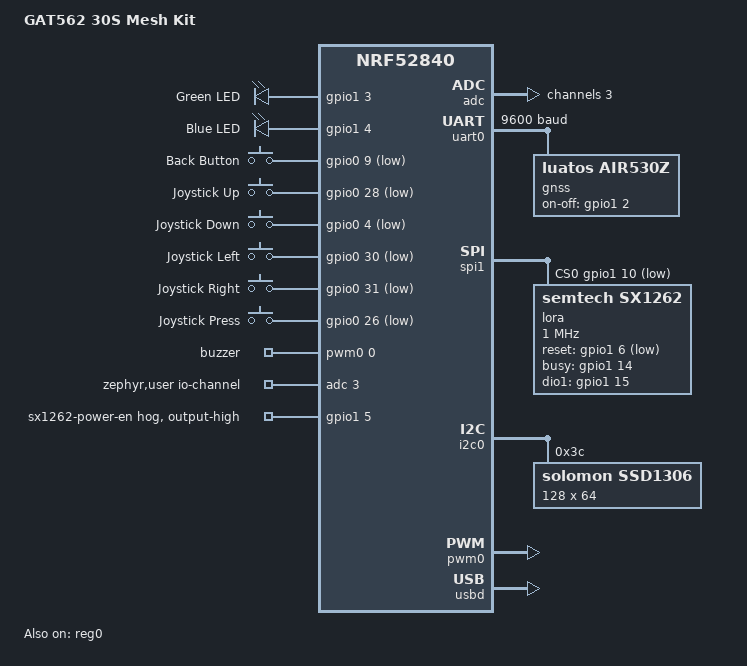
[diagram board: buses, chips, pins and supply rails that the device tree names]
/*
 * SPDX-License-Identifier: MIT
 *
 * GAT562 30S Mesh Kit — nRF52840 + SX1262 on a RAK4631 core module, with a
 * 30 dBm (1 W) external PA, SSD1306 OLED, GPS, buzzer, 2x18650 + solar input.
 *
 * LoRa wiring is identical to the RAK4631 WisBlock core:
 *   SCK P1.11  MOSI P1.12  MISO P1.13  NSS P1.10
 *   RST P1.06  BUSY P1.14  DIO1 P1.15  PWR_EN P1.05 (hog HIGH)
 *   DIO2 = T/R switch, DIO3 = TCXO.
 *
 * GAT562-specific vs a stock RAK4631:
 *   - DIO3 TCXO at 1.8 V   (matches the official MeshCore GAT562 variant)
 *   - Battery multiplier 6232 (vs 6161): 3 * 1.75 * 1.187 * 1000
 *   - Buzzer on P1.01 (PWM0)
 *   - GPS: AT6558R on UART0 @ 9600 (MCU RX P0.15 / TX P0.16), luatos,air530z
 *     driver, power via on-off-gpios on WB_IO2/P1.02
 *   - 6 buttons on GPIO SENSE (sense-edge-mask) so DIO1 keeps a GPIOTE chan
 *   - LEDs active-high: green P1.03 (LoRa TX), blue P1.04
 *   - User button P0.09 (NFC1)
 */

/dts-v1/;
#include <nordic/nrf52840_qiaa.dtsi>
#include "gat562_30s-pinctrl.dtsi"
#include <zephyr/dt-bindings/adc/nrf-saadc.h>
#include <zephyr/dt-bindings/lora/sx126x.h>
#include <zephyr/dt-bindings/input/input-event-codes.h>
#include <zephyr/dt-bindings/pwm/pwm.h>

/ {
	model = "GAT562 30S Mesh Kit";
	compatible = "gat,gat562-30s";

	chosen {
		zephyr,sram = &sram0;
		zephyr,flash = &flash0;
		zephyr,code-partition = &code_partition;
		zephyr,console = &cdc_acm_uart;
		zephyr,shell-uart = &cdc_acm_uart;
		zephyr,display = &ssd1306;
	};

	aliases {
		lora0 = &lora;
		led0 = &green_led;
		led1 = &blue_led;
		lora-tx-led = &green_led;
		sw0 = &user_button;
		buzzer = &buzzer;
		watchdog0 = &wdt0;
	};

	leds {
		compatible = "gpio-leds";
		/* Active-high on GAT562 (LED_STATE_ON = 1; TX LED driven HIGH) */
		green_led: led_1 {
			gpios = <&gpio1 3 GPIO_ACTIVE_HIGH>;
			label = "Green LED";
		};
		blue_led: led_2 {
			gpios = <&gpio1 4 GPIO_ACTIVE_HIGH>;
			label = "Blue LED";
		};
	};

	/*
	 * Inputs: back/menu button (P0.09) + 5-way joystick (P0.28/04/30/31/26).
	 * The joystick drives the companion menu UI (ZEPHCORE_UI_JOYSTICK). The
	 * back button is a single GPIO whose tap-count/hold is decoded by the
	 * filters below — same scheme as the Wio Tracker L1:
	 *   1 tap  -> KEY_1 (back/cancel)   long hold -> KEY_POWER
	 *   2 taps -> KEY_B (LED)        3 -> KEY_D (buzzer)
	 *   4 taps -> KEY_C (GPS)           5 -> KEY_E (advert)
	 * (NFC pins P0.09/P0.10 are freed for GPIO by nfct-pins-as-gpios above.)
	 */
	buttons: buttons {
		compatible = "gpio-keys";

		user_button: button_0 {
			gpios = <&gpio0 9 (GPIO_PULL_UP | GPIO_ACTIVE_LOW)>;
			zephyr,code = <INPUT_KEY_0>;
			label = "Back Button";
		};

		joystick_up: button_1 {
			gpios = <&gpio0 28 (GPIO_PULL_UP | GPIO_ACTIVE_LOW)>;
			zephyr,code = <INPUT_KEY_UP>;
			label = "Joystick Up";
		};

		joystick_down: button_2 {
			gpios = <&gpio0 4 (GPIO_PULL_UP | GPIO_ACTIVE_LOW)>;
			zephyr,code = <INPUT_KEY_DOWN>;
			label = "Joystick Down";
		};

		joystick_left: button_3 {
			gpios = <&gpio0 30 (GPIO_PULL_UP | GPIO_ACTIVE_LOW)>;
			zephyr,code = <INPUT_KEY_LEFT>;
			label = "Joystick Left";
		};

		joystick_right: button_4 {
			gpios = <&gpio0 31 (GPIO_PULL_UP | GPIO_ACTIVE_LOW)>;
			zephyr,code = <INPUT_KEY_RIGHT>;
			label = "Joystick Right";
		};

		joystick_press: button_5 {
			gpios = <&gpio0 26 (GPIO_PULL_UP | GPIO_ACTIVE_LOW)>;
			zephyr,code = <INPUT_KEY_ENTER>;
			label = "Joystick Press";
		};
	};

	/* Back button: short tap -> KEY_A (feeds multitap), hold >=1s -> KEY_POWER */
	user_btn_longpress {
		compatible = "zephyr,input-longpress";
		input = <&buttons>;
		input-codes = <INPUT_KEY_0>;
		short-codes = <INPUT_KEY_A>;
		long-codes = <INPUT_KEY_POWER>;
		long-delay-ms = <1000>;
	};

	/* Tap-count decode of the back button. No 'input' phandle: KEY_A is
	 * emitted by the longpress pseudo-device, not by &buttons. */
	user_btn_multitap {
		compatible = "zephcore,input-multi-tap";
		input-codes = <INPUT_KEY_A>;
		tap-codes = <INPUT_KEY_1 INPUT_KEY_B INPUT_KEY_D INPUT_KEY_C INPUT_KEY_E>;
		tap-delay-ms = <400>;
	};

	/* Onboard buzzer on P1.01 (PWM0). The official MeshCore variant defines
	 * PIN_BUZZER=33 (P1.01); its PIN_GPS_EN=33 is vestigial template cruft —
	 * the UART GPS is always-on and needs no enable, so P1.01 is the buzzer. */
	pwmbuzzer {
		compatible = "pwm-leds";
		buzzer: buzzer {
			pwms = <&pwm0 0 PWM_MSEC(20) PWM_POLARITY_NORMAL>;
		};
	};

	/* Battery sense: AIN3 = P0.05 with the GAT562 divider (~1.73x) */
	zephyr,user {
		io-channels = <&adc 3>;
		vbat-mv-multiplier = <6259>;	/* 1.73:1 divider, 3.6V ref; corrected from Arduino 3.0V AREF + nRF SAADC gain */
	};
};

&reg0 {
	status = "okay";
};

&reg1 {
	regulator-initial-mode = <NRF5X_REG_MODE_DCDC>;
};

&uicr {
	gpio-as-nreset;
	nfct-pins-as-gpios;	/* free P0.09 / P0.10 for the user button */
};

&gpiote {
	status = "okay";
};

&gpio0 {
	status = "okay";

	/*
	 * Route the 6 button/joystick edge interrupts (P0.04/09/26/28/30/31)
	 * through the shared GPIO SENSE/PORT event instead of dedicating a
	 * GPIOTE IN channel to each. The nRF52840 has only 8 GPIOTE channels;
	 * with 6 buttons each taking one (gpio-keys uses GPIO_INT_EDGE_BOTH),
	 * the SX1262 DIO1 interrupt could be starved of a channel, so CAD/TX/RX
	 * "done" IRQs never fire and every RF op times out (CAD failed -116).
	 * Moving the slow button inputs to sense frees all 6 channels for DIO1.
	 * Mask = (1<<4)|(1<<9)|(1<<26)|(1<<28)|(1<<30)|(1<<31).
	 */
	sense-edge-mask = <0xD4000210>;
};

&gpio1 {
	status = "okay";

	/* SX1262 module power-enable on P1.05: held HIGH. The native sx126x
	 * driver must not toggle this per-direction (it is module power, not a
	 * per-TX/RX antenna switch), so it is hogged instead of being a
	 * rx-enable-gpios on the lora node. */
	sx1262_power_en {
		gpio-hog;
		gpios = <5 GPIO_ACTIVE_HIGH>;
		output-high;
		line-name = "sx1262-power-en";
	};

	/* GPS power-enable on WB_IO2 / P1.02 is NOT hogged here: the AT6558R is
	 * driven by the luatos,air530z driver, which owns this line via
	 * on-off-gpios (see &uart0) so ZephyrGPSManager can power the receiver
	 * down for low-power operation. */
};

&adc {
	status = "okay";
	#address-cells = <1>;
	#size-cells = <0>;

	channel@3 {
		reg = <3>;
		zephyr,gain = "ADC_GAIN_1_6";
		zephyr,reference = "ADC_REF_INTERNAL";
		zephyr,acquisition-time = <ADC_ACQ_TIME(ADC_ACQ_TIME_MICROSECONDS, 10)>;
		zephyr,input-positive = <NRF_SAADC_AIN3>;	/* P0.05 */
		zephyr,resolution = <12>;
	};
};

/*
 * GPS: AT6558R UART NMEA receiver on UART0 @ 9600 baud (MCU RX P0.15 <- GPS
 * TX, MCU TX P0.16 -> GPS RX). Multi-constellation (GPS + GLONASS). Matches
 * the official MeshCore gat562_30s_mesh_kit variant (MicroNMEALocationProvider
 * on Serial1, 9600 baud).
 *
 * Driven by the luatos,air530z driver — the AT6558R is a CASIC-protocol part,
 * so the driver's $PCAS03 init trims the NMEA stream to GGA+RMC (+GSV when
 * CONFIG_GNSS_SATELLITES) and $PMTK869 enables EASY fast-TTFF. Same driver and
 * chip as the rak_wismesh_tag board. GPS power is managed by the driver via
 * on-off-gpios (WB_IO2 / P1.02, active-high), so ZephyrGPSManager can power
 * the receiver down — no always-on gpio-hog. Because the driver brings the
 * module up only after the UART backend is ready, the plain interrupt-driven
 * RX feeds the modem backend correctly and no CONFIG_UART_ASYNC_API is needed.
 */
&uart0 {
	compatible = "nordic,nrf-uarte";
	status = "okay";
	current-speed = <9600>;
	pinctrl-0 = <&uart0_default>;
	pinctrl-1 = <&uart0_sleep>;
	pinctrl-names = "default", "sleep";

	gnss: gnss {
		compatible = "luatos,air530z";
		on-off-gpios = <&gpio1 2 GPIO_ACTIVE_HIGH>;	/* WB_IO2 / P1.02 GPS power */
	};
};

/* UART1 unused — the GPS is on UART0 (see above). */
&uart1 {
	status = "disabled";
};

/* LoRa SX1262 on SPI1 — RAK4631 core-module wiring */
&spi1 {
	compatible = "nordic,nrf-spi";
	status = "okay";
	cs-gpios = <&gpio1 10 GPIO_ACTIVE_LOW>;		/* NSS P1.10 */
	pinctrl-0 = <&spi1_default>;
	pinctrl-1 = <&spi1_sleep>;
	pinctrl-names = "default", "sleep";

	lora: lora@0 {
		compatible = "semtech,sx1262";
		reg = <0>;
		spi-max-frequency = <1000000>;
		reset-gpios = <&gpio1 6 GPIO_ACTIVE_LOW>;		/* RST  P1.06 */
		busy-gpios = <&gpio1 14 GPIO_ACTIVE_HIGH>;		/* BUSY P1.14 */
		dio1-gpios = <&gpio1 15 (GPIO_PULL_DOWN | GPIO_ACTIVE_HIGH)>;	/* DIO1 P1.15 */
		dio2-tx-enable;						/* DIO2 = T/R switch */
		/* 1.8 V TCXO via DIO3 — matches the official MeshCore GAT562 variant
		 * (SX126X_DIO3_TCXO_VOLTAGE 1.8). The TCXO on the RAK4631 core runs
		 * fine at 1.8 V; 3.3 V also works on this unit, but 1.8 V mirrors the
		 * vendor's known-good value. The module is a TCXO part: without DIO3
		 * control it has no clock and sits in permanent BUSY.  NOTE: the SX1262
		 * signals CAD/TX/RX "done" on DIO1, which needs a free nRF GPIOTE
		 * channel.  This board's 6 buttons are routed to GPIO SENSE (see
		 * sense-edge-mask on &gpio0) so they don't consume all 8 channels and
		 * starve DIO1 — without that, every RF op times out ("CAD failed -116"). */
		dio3-tcxo-voltage = <SX126X_DIO3_TCXO_1V8>;
		tcxo-power-startup-delay-ms = <5>;
		rx-boosted;
	};
};

/* I2C0: SSD1306 OLED @ 0x3C + auto-detected sensors (BME280 pad, etc.) */
&i2c0 {
	compatible = "nordic,nrf-twi";
	status = "okay";
	pinctrl-0 = <&i2c0_default>;
	pinctrl-1 = <&i2c0_sleep>;
	pinctrl-names = "default", "sleep";

	ssd1306: ssd1306@3c {
		compatible = "solomon,ssd1306";
		reg = <0x3c>;
		width = <128>;
		height = <64>;
		segment-offset = <0>;
		page-offset = <0>;
		display-offset = <0>;
		multiplex-ratio = <63>;
		segment-remap;
		com-invdir;
		prechargep = <0x22>;
	};

	#include "../../common/sensors-i2c.dtsi"
};

/* PWM0 drives the buzzer on P1.01 */
&pwm0 {
	status = "okay";
	pinctrl-0 = <&pwm0_default>;
	pinctrl-1 = <&pwm0_sleep>;
	pinctrl-names = "default", "sleep";
};

/*
 * No external QSPI flash on the GAT562 core module. The SoC leaves &qspi
 * disabled by default; pin it explicitly so a probe of an absent chip can
 * never hang boot.
 */
&qspi {
	status = "disabled";
};

/* USB CDC-ACM: console + repeater CLI */
zephyr_udc0: &usbd {
	compatible = "nordic,nrf-usbd";
	status = "okay";

	cdc_acm_uart: cdc_acm_uart {
		compatible = "zephyr,cdc-acm-uart";
	};
};

/* SoftDevice s140 v6 + UF2 bootloader flash layout (app @ 0x26000) */
#include "../../common/nrf52_partitions_sdv6.dtsi"

/* Mark the buttons node as a System OFF wakeup source */
#include "../../common/nrf52_wakeup.dtsi"
